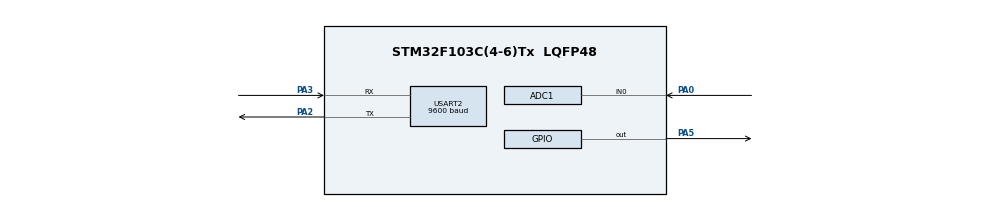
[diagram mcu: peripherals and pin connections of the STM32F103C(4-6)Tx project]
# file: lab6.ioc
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ADC1.Channel-0\#ChannelRegularConversion=ADC_CHANNEL_0
ADC1.ContinuousConvMode=ENABLE
ADC1.NbrOfConversionFlag=1
ADC1.Rank-0\#ChannelRegularConversion=1
ADC1.SamplingTime-0\#ChannelRegularConversion=ADC_SAMPLETIME_1CYCLE_5
ADC1.master=1
Mcu.Family=STM32F1
Mcu.Name=STM32F103C(4-6)Tx
Mcu.Package=LQFP48
NVIC.ADC1_2_IRQn=true\:0\:0\:false\:false\:true\:true\:true
NVIC.PriorityGroup=NVIC_PRIORITYGROUP_4
NVIC.TIM2_IRQn=true\:0\:0\:false\:false\:true\:true\:true
NVIC.USART2_IRQn=true\:0\:0\:false\:false\:true\:true\:true
PA0-WKUP.Signal=ADCx_IN0
PA2.Mode=Asynchronous
PA2.Signal=USART2_TX
PA3.Mode=Asynchronous
PA3.Signal=USART2_RX
PA5.Signal=GPIO_Output
PC14-OSC32_IN.Mode=LSE-External-Oscillator
PC14-OSC32_IN.Signal=RCC_OSC32_IN
PC15-OSC32_OUT.Mode=LSE-External-Oscillator
PC15-OSC32_OUT.Signal=RCC_OSC32_OUT
ProjectManager.HeapSize=0x200
ProjectManager.StackSize=0x400
ProjectManager.TargetToolchain=STM32CubeIDE
RCC.APB1Freq_Value=8000000
RCC.APB2Freq_Value=8000000
SH.ADCx_IN0.0=ADC1_IN0,IN0
TIM2.Period=9
TIM2.Prescaler=7999
USART2.BaudRate=9600
USART2.VirtualMode=VM_ASYNC
VP_SYS_VS_ND.Mode=No_Debug
VP_TIM2_VS_ClockSourceINT.Mode=Internal
board=custom

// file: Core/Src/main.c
/* USER CODE BEGIN Header */
/**
  ******************************************************************************
  * @file           : main.c
  * @brief          : Main program body
  ******************************************************************************
  * @attention
  *
  * <h2><center>&copy; Copyright (c) 2021 STMicroelectronics.
  * All rights reserved.</center></h2>
  *
  * This software component is licensed by ST under BSD 3-Clause license,
  * the "License"; You may not use this file except in compliance with the
  * License. You may obtain a copy of the License at:
  *                        opensource.org/licenses/BSD-3-Clause
  *
  ******************************************************************************
  */
/* USER CODE END Header */
#include "main.h"

ADC_HandleTypeDef hadc1;

TIM_HandleTypeDef htim2;

UART_HandleTypeDef huart2;

/* USER CODE BEGIN PV */
extern int timeout_flag;
extern uint8_t ERROR_CODE;
extern uint8_t UARTstate;
extern uint8_t buffer_flag;

uint8_t rxBuffer = 0;
uint8_t cmdBuffer[CMD_MAX_LENGTH];
uint8_t cmd_length = 0;
/* USER CODE END PV */

void SystemClock_Config(void);
static void MX_GPIO_Init(void);
static void MX_TIM2_Init(void);
static void MX_USART2_UART_Init(void);
static void MX_ADC1_Init(void);

/* USER CODE BEGIN 0 */
void HAL_UART_RxCpltCallback(UART_HandleTypeDef *huart) {
	if (huart->Instance == USART2) {
		HAL_UART_Transmit(&huart2, &rxBuffer, 1, 50);

		if (cmd_length >= CMD_MAX_LENGTH && rxBuffer != '\r') {
			ERROR_CODE = BUFFER_IS_FULL;
			UARTstate = ERROR;
		} else {
			switch(rxBuffer) {
			case '\b':
				cmdBuffer[cmd_length - 1] = 0;
				cmd_length--;
				break;
			case ' ':		// space
				ERROR_CODE = INVALID_INPUT;
				UARTstate = ERROR;
				break;
			case '\r':
				buffer_flag = 1;
				break;
			default:
				cmdBuffer[cmd_length] = rxBuffer;
				cmd_length++;
				break;
			}
		}
		setTimer();
		HAL_UART_Receive_IT(&huart2, &rxBuffer, 1);
	}
}
/* USER CODE END 0 */

int main(void)
{

  /* MCU Configuration--------------------------------------------------------*/

  /* Reset of all peripherals, Initializes the Flash interface and the Systick. */
  HAL_Init();

  /* Configure the system clock */
  SystemClock_Config();

  /* Initialize all configured peripherals */
  MX_GPIO_Init();
  MX_TIM2_Init();
  MX_USART2_UART_Init();
  MX_ADC1_Init();
  /* USER CODE BEGIN 2 */
  timerInit();
  HAL_ADC_Start_IT(&hadc1);
  HAL_TIM_Base_Start_IT(&htim2);
  printf("The system has started\r\n");
  /* USER CODE END 2 */

  /* Infinite loop */
  /* USER CODE BEGIN WHILE */
  HAL_UART_Receive_IT (&huart2, &rxBuffer, 1);
  while (1)
  {
    /* USER CODE END WHILE */

    /* USER CODE BEGIN 3 */
	if (buffer_flag == 1) {
		command_parser_fsm();
		buffer_flag = 0;
	}
	uart_communiation_fsm();
  }
  /* USER CODE END 3 */
}

void SystemClock_Config(void)
{
  RCC_OscInitTypeDef RCC_OscInitStruct = {0};
  RCC_ClkInitTypeDef RCC_ClkInitStruct = {0};
  RCC_PeriphCLKInitTypeDef PeriphClkInit = {0};

  /** Initializes the RCC Oscillators according to the specified parameters
  * in the RCC_OscInitTypeDef structure.
  */
  RCC_OscInitStruct.OscillatorType = RCC_OSCILLATORTYPE_HSI;
  RCC_OscInitStruct.HSIState = RCC_HSI_ON;
  RCC_OscInitStruct.HSICalibrationValue = RCC_HSICALIBRATION_DEFAULT;
  RCC_OscInitStruct.PLL.PLLState = RCC_PLL_NONE;
  if (HAL_RCC_OscConfig(&RCC_OscInitStruct) != HAL_OK)
  {
    Error_Handler();
  }
  /** Initializes the CPU, AHB and APB buses clocks
  */
  RCC_ClkInitStruct.ClockType = RCC_CLOCKTYPE_HCLK|RCC_CLOCKTYPE_SYSCLK
                              |RCC_CLOCKTYPE_PCLK1|RCC_CLOCKTYPE_PCLK2;
  RCC_ClkInitStruct.SYSCLKSource = RCC_SYSCLKSOURCE_HSI;
  RCC_ClkInitStruct.AHBCLKDivider = RCC_SYSCLK_DIV1;
  RCC_ClkInitStruct.APB1CLKDivider = RCC_HCLK_DIV1;
  RCC_ClkInitStruct.APB2CLKDivider = RCC_HCLK_DIV1;

  if (HAL_RCC_ClockConfig(&RCC_ClkInitStruct, FLASH_LATENCY_0) != HAL_OK)
  {
    Error_Handler();
  }
  PeriphClkInit.PeriphClockSelection = RCC_PERIPHCLK_ADC;
  PeriphClkInit.AdcClockSelection = RCC_ADCPCLK2_DIV2;
  if (HAL_RCCEx_PeriphCLKConfig(&PeriphClkInit) != HAL_OK)
  {
    Error_Handler();
  }
}

static void MX_ADC1_Init(void)
{

  ADC_ChannelConfTypeDef sConfig = {0};

  /** Common config
  */
  hadc1.Instance = ADC1;
  hadc1.Init.ScanConvMode = ADC_SCAN_DISABLE;
  hadc1.Init.ContinuousConvMode = ENABLE;
  hadc1.Init.DiscontinuousConvMode = DISABLE;
  hadc1.Init.ExternalTrigConv = ADC_SOFTWARE_START;
  hadc1.Init.DataAlign = ADC_DATAALIGN_RIGHT;
  hadc1.Init.NbrOfConversion = 1;
  if (HAL_ADC_Init(&hadc1) != HAL_OK)
  {
    Error_Handler();
  }
  /** Configure Regular Channel
  */
  sConfig.Channel = ADC_CHANNEL_0;
  sConfig.Rank = ADC_REGULAR_RANK_1;
  sConfig.SamplingTime = ADC_SAMPLETIME_1CYCLE_5;
  if (HAL_ADC_ConfigChannel(&hadc1, &sConfig) != HAL_OK)
  {
    Error_Handler();
  }

}

static void MX_TIM2_Init(void)
{

  TIM_ClockConfigTypeDef sClockSourceConfig = {0};
  TIM_MasterConfigTypeDef sMasterConfig = {0};

  htim2.Instance = TIM2;
  htim2.Init.Prescaler = 7999;
  htim2.Init.CounterMode = TIM_COUNTERMODE_UP;
  htim2.Init.Period = 9;
  htim2.Init.ClockDivision = TIM_CLOCKDIVISION_DIV1;
  htim2.Init.AutoReloadPreload = TIM_AUTORELOAD_PRELOAD_DISABLE;
  if (HAL_TIM_Base_Init(&htim2) != HAL_OK)
  {
    Error_Handler();
  }
  sClockSourceConfig.ClockSource = TIM_CLOCKSOURCE_INTERNAL;
  if (HAL_TIM_ConfigClockSource(&htim2, &sClockSourceConfig) != HAL_OK)
  {
    Error_Handler();
  }
  sMasterConfig.MasterOutputTrigger = TIM_TRGO_RESET;
  sMasterConfig.MasterSlaveMode = TIM_MASTERSLAVEMODE_DISABLE;
  if (HAL_TIMEx_MasterConfigSynchronization(&htim2, &sMasterConfig) != HAL_OK)
  {
    Error_Handler();
  }

}

static void MX_USART2_UART_Init(void)
{

  huart2.Instance = USART2;
  huart2.Init.BaudRate = 9600;
  huart2.Init.WordLength = UART_WORDLENGTH_8B;
  huart2.Init.StopBits = UART_STOPBITS_1;
  huart2.Init.Parity = UART_PARITY_NONE;
  huart2.Init.Mode = UART_MODE_TX_RX;
  huart2.Init.HwFlowCtl = UART_HWCONTROL_NONE;
  huart2.Init.OverSampling = UART_OVERSAMPLING_16;
  if (HAL_UART_Init(&huart2) != HAL_OK)
  {
    Error_Handler();
  }

}

static void MX_GPIO_Init(void)
{
  GPIO_InitTypeDef GPIO_InitStruct = {0};

  /* GPIO Ports Clock Enable */
  __HAL_RCC_GPIOC_CLK_ENABLE();
  __HAL_RCC_GPIOA_CLK_ENABLE();

  /*Configure GPIO pin Output Level */
  HAL_GPIO_WritePin(GPIOA, GPIO_PIN_5, GPIO_PIN_RESET);

  /*Configure GPIO pin : PA5 */
  GPIO_InitStruct.Pin = GPIO_PIN_5;
  GPIO_InitStruct.Mode = GPIO_MODE_OUTPUT_PP;
  GPIO_InitStruct.Pull = GPIO_NOPULL;
  GPIO_InitStruct.Speed = GPIO_SPEED_FREQ_LOW;
  HAL_GPIO_Init(GPIOA, &GPIO_InitStruct);

}

/* USER CODE BEGIN 4 */
void HAL_TIM_PeriodElapsedCallback (TIM_HandleTypeDef * htim) {
	timer_run();
}
/* USER CODE END 4 */

void Error_Handler(void)
{
  __disable_irq();
  while (1)
  {
  }
}

/************************ (C) COPYRIGHT STMicroelectronics *****END OF FILE****/
